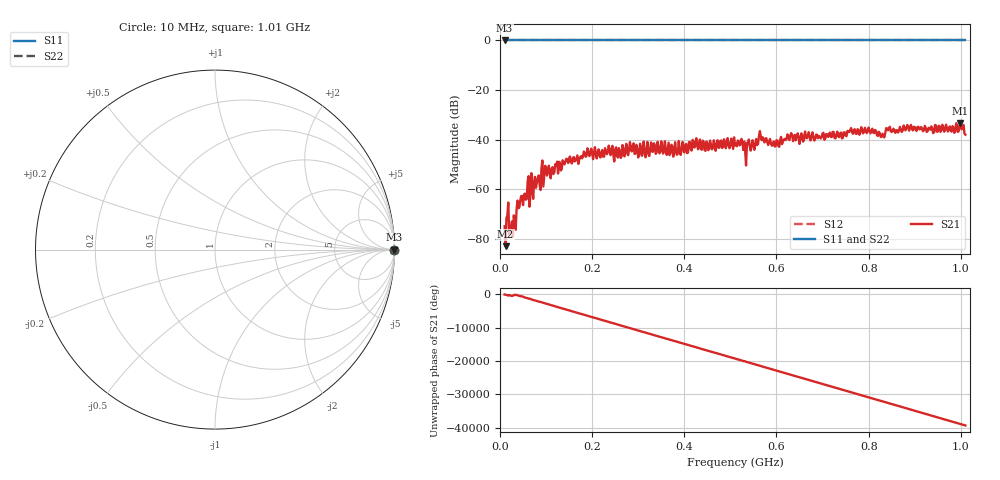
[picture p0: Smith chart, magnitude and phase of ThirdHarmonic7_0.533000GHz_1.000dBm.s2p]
! 8/17/2025 3:53:10 PM
! C:\ANRITSUVNA\TEMP\TEMP.S2P
! CHANNEL.1
! TR.MEASUREMENT
! RAW.DATA
! RF.CORRECTION.OFF
! AVERAGING.OFF
! IF.BANDWIDTH: 5KHZ
! SWEEPTYPE:  FREQ.SWEEP(Linear)
! Reference Plane Port Info
! PORT:  PORT1  PORT2
! DISTANCE:  0  m  0  m
! TIME:  0  s  0  s
! PHASE.OFFSET:  0  deg.  0  deg.
! LOSS:  0  dB  0  dB
! REF.LOSS:  0  dB  0  dB
! REF.FREQ:  0  Hz  0  Hz
! Power Info
! POWER:  -20  dBm  -20  dBm
! EFF.POWER:  -20  dBm  -20  dBm
! SOURCE.ATTEN:  0  dB  0  dB
! TEST.ATTEN:  0  dB  0  dB
# GHZ S RI R 50.0
! FREQ.GHZ  S11RE  S11IM  S21RE  S21IM  S12RE  S12IM  S22RE  S22IM
!; PortSelection: Port_12
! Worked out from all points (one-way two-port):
!   501 points, 10 MHz to 1.01 GHz, reference 50 ohm
!   highest |S21| = -33.31 dB at 998 MHz (marker M1); lowest = -82.9 dB at 12 MHz (marker M2)
!   lowest |S11| = 0.0 dB at 10 MHz (marker M3)
!   |S11| at or under -10 dB: nowhere
!   |S22| runs from 0.0 to 0.0 dB; largest |S21 - S12| = 1
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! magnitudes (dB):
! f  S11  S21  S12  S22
! 10 MHz  0.0  -74.8  0.0  0.0
! 12 MHz  0.0  -82.9  0.0  0.0
! 18 MHz  0.0  -65.3  0.0  0.0
! 24 MHz  0.0  -75.1  0.0  0.0
! 32 MHz  0.0  -74.1  0.0  0.0
! 42 MHz  0.0  -67.3  0.0  0.0
! 94 MHz  0.0  -58.9  0.0  0.0
! 178 MHz  0.0  -47.5  0.0  0.0
! 286 MHz  0.0  -44.7  0.0  0.0
! 344 MHz  0.0  -42.9  0.0  0.0
! 510 MHz  0.0  -42.3  0.0  0.0
! 526 MHz  0.0  -41.0  0.0  0.0
! 532 MHz  0.0  -44.3  0.0  0.0
! 566 MHz  0.0  -38.8  0.0  0.0
! 594 MHz  0.0  -40.7  0.0  0.0
! 628 MHz  0.0  -40.1  0.0  0.0
! 678 MHz  0.0  -37.0  0.0  0.0
! 796 MHz  0.0  -37.3  0.0  0.0
! 830 MHz  0.0  -37.6  0.0  0.0
! 844 MHz  0.0  -35.3  0.0  0.0
! 998 MHz  0.0  -33.3  0.0  0.0
! 1.01 GHz  0.0  -38.0  0.0  0.0
